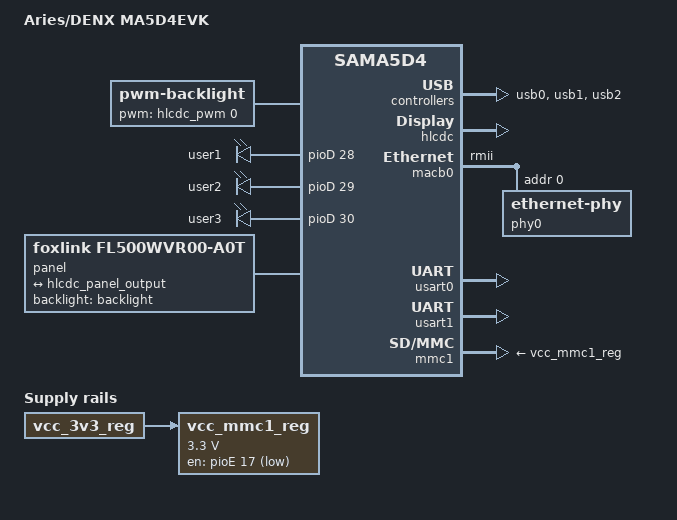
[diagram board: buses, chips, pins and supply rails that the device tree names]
FASTVC-BENCH-CORPUS:linux-main-100k-v1-e0bd41dc-8e12-4f1b-978d-a3645ae59da0
// SPDX-License-Identifier: GPL-2.0-or-later
/*
 * Copyright (C) 2015 Marek Vasut <marex@denx.de>
 */

/dts-v1/;
#include "at91-sama5d4_ma5d4.dtsi"

/ {
	model = "Aries/DENX MA5D4EVK";
	compatible = "aries,ma5d4evk", "denx,ma5d4evk", "atmel,sama5d4", "atmel,sama5";

	chosen {
		stdout-path = "serial3:115200n8";
	};

	ahb {
		usb0: gadget@400000 {
			atmel,vbus-gpio = <&pioE 31 GPIO_ACTIVE_HIGH>;
			pinctrl-names = "default";
			pinctrl-0 = <&pinctrl_usba_vbus>;
			status = "okay";
		};

		usb1: ohci@500000 {
			num-ports = <3>;
			atmel,vbus-gpio = <0
					   &pioE 11 GPIO_ACTIVE_LOW
					   &pioE 14 GPIO_ACTIVE_LOW
					  >;
			status = "okay";
		};

		usb2: ehci@600000 {
			status = "okay";
		};

		apb {
			hlcdc: hlcdc@f0000000 {
				status = "okay";

				hlcdc-display-controller {
					pinctrl-names = "default";
					pinctrl-0 = <&pinctrl_lcd_base &pinctrl_lcd_rgb888>;

					port@0 {
						hlcdc_panel_output: endpoint@0 {
							reg = <0>;
							remote-endpoint = <&panel_input>;
						};
					};
				};

			};

			macb0: ethernet@f8020000 {
				phy-mode = "rmii";
				status = "okay";

				phy0: ethernet-phy@0 {
					reg = <0>;
				};
			};

			usart0: serial@f802c000 {
				status = "okay";
			};

			usart1: serial@f8030000 {
				status = "okay";
			};

			mmc1: mmc@fc000000 {
/* bench 10037.0.0 ef46b7db3b02 */
/* bench 10037.0.1 52853636ded2 */
/* bench 10037.0.2 15bdcef76ff4 */
/* bench 10037.0.3 debff3af5002 */
/* bench 10037.0.4 f27e532fee89 */
/* bench 10037.0.5 814812587079 */
/* bench 10037.0.6 1f6fa873b613 */
				vmmc-supply = <&vcc_mmc1_reg>;
/* bench 10382.0.0 a82050f62e97 */
/* bench 10382.0.1 cd47232450b9 */
/* bench 10382.0.2 ab3c12cc5010 */
/* bench 10382.0.3 87d366cd6e48 */
/* bench 10382.0.4 5f9496509692 */
/* bench 10382.0.5 c43420bff59c */
/* bench 10382.0.6 0678db65e682 */
/* bench 10382.0.7 50c0cfad3f09 */
/* bench 10382.0.8 93d11f47a505 */
				status = "okay";
				slot@0 {
					reg = <0>;
					bus-width = <4>;
					cd-gpios = <&pioE 5 0>;
				};
			};

			adc0: adc@fc034000 {
				atmel,adc-ts-wires = <4>;
				atmel,adc-ts-pressure-threshold = <10000>;
			};


			pinctrl@fc06a000 {
				board {
					pinctrl_mmc1_cd: mmc1_cd {
						atmel,pins = <AT91_PIOE 5 AT91_PERIPH_GPIO AT91_PINCTRL_PULL_UP_DEGLITCH>;
					};
					pinctrl_usba_vbus: usba_vbus {
						atmel,pins =
							<AT91_PIOE 31 AT91_PERIPH_GPIO AT91_PINCTRL_DEGLITCH>;
					};
				};
			};
		};
	};

	backlight: backlight {
		compatible = "pwm-backlight";
		pwms = <&hlcdc_pwm 0 50000 0>;
		brightness-levels = <0 4 8 16 32 64 128 255>;
		default-brightness-level = <6>;
		status = "okay";
	};

	leds {
		compatible = "gpio-leds";
		status = "okay";

		user1 {
			label = "user1";
			gpios = <&pioD 28 GPIO_ACTIVE_HIGH>;
			linux,default-trigger = "heartbeat";
		};

		user2 {
			label = "user2";
			gpios = <&pioD 29 GPIO_ACTIVE_HIGH>;
			linux,default-trigger = "heartbeat";
		};

		user3 {
			label = "user3";
			gpios = <&pioD 30 GPIO_ACTIVE_HIGH>;
			linux,default-trigger = "heartbeat";
		};
	};

	panel: panel {
		/* Actually Ampire 800480R2 */
		compatible = "foxlink,fl500wvr00-a0t";
		backlight = <&backlight>;
		#address-cells = <1>;
		#size-cells = <0>;
		status = "okay";

		port@0 {
			#address-cells = <1>;
			#size-cells = <0>;

			panel_input: endpoint@0 {
				reg = <0>;
				remote-endpoint = <&hlcdc_panel_output>;
			};
		};
	};

	vcc_mmc1_reg: fixedregulator_mmc1 {
		compatible = "regulator-fixed";
		gpio = <&pioE 17 GPIO_ACTIVE_LOW>;
		regulator-name = "VDD MCI1";
		regulator-min-microvolt = <3300000>;
		regulator-max-microvolt = <3300000>;
		vin-supply = <&vcc_3v3_reg>;
	};
};
